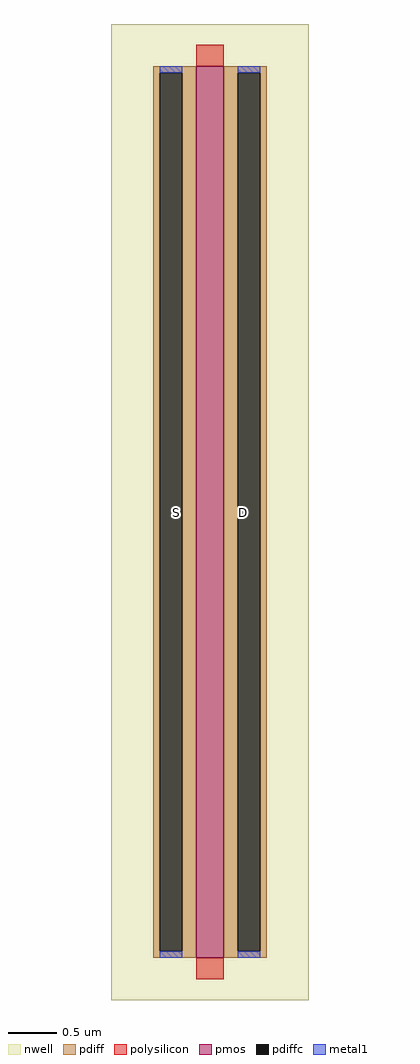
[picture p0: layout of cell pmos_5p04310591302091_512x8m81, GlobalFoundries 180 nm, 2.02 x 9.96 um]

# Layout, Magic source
magic
tech gf180mcuD
magscale 1 10
<< nwell >>
rect -174 -86 230 1906
<< pmos >>
rect 0 0 56 1820
<< pdiff >>
rect -88 1807 0 1820
rect -88 13 -75 1807
rect -29 13 0 1807
rect -88 0 0 13
rect 56 1807 144 1820
rect 56 13 85 1807
rect 131 13 144 1807
rect 56 0 144 13
<< pdiffc >>
rect -75 13 -29 1807
rect 85 13 131 1807
<< polysilicon >>
rect 0 1820 56 1864
rect 0 -44 56 0
<< metal1 >>
rect -75 1807 -29 1820
rect -75 0 -29 13
rect 85 1807 131 1820
rect 85 0 131 13
<< labels >>
flabel pdiffc -40 910 -40 910 0 FreeSans 186 0 0 0 S
flabel pdiffc 96 910 96 910 0 FreeSans 186 0 0 0 D
<< end >>
